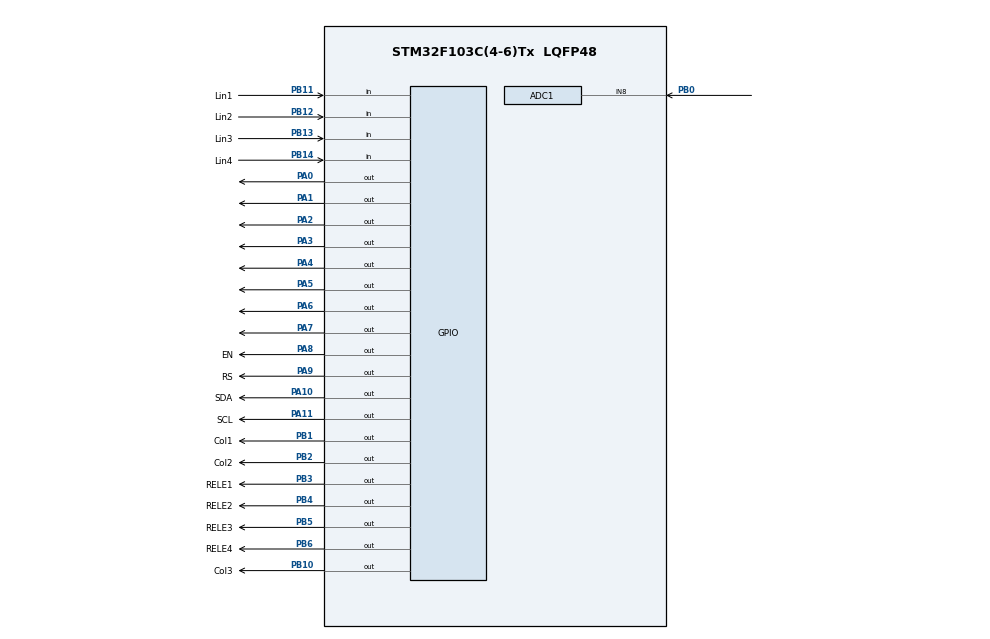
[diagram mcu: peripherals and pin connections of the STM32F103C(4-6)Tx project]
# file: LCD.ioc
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ADC1.Channel-0\#ChannelRegularConversion=ADC_CHANNEL_8
ADC1.NbrOfConversionFlag=1
ADC1.Rank-0\#ChannelRegularConversion=1
ADC1.SamplingTime-0\#ChannelRegularConversion=ADC_SAMPLETIME_1CYCLE_5
ADC1.master=1
Mcu.Family=STM32F1
Mcu.Name=STM32F103C(4-6)Tx
Mcu.Package=LQFP48
NVIC.PriorityGroup=NVIC_PRIORITYGROUP_4
PA0-WKUP.Signal=GPIO_Output
PA1.Signal=GPIO_Output
PA10.GPIO_Label=SDA
PA10.Signal=GPIO_Output
PA11.GPIO_Label=SCL
PA11.Signal=GPIO_Output
PA2.Signal=GPIO_Output
PA3.Signal=GPIO_Output
PA4.Signal=GPIO_Output
PA5.Signal=GPIO_Output
PA6.Signal=GPIO_Output
PA7.Signal=GPIO_Output
PA8.GPIO_Label=EN
PA8.Signal=GPIO_Output
PA9.GPIO_Label=RS
PA9.Signal=GPIO_Output
PB0.Signal=ADCx_IN8
PB1.GPIO_Label=Col1
PB1.Signal=GPIO_Output
PB10.GPIO_Label=Col3
PB10.Signal=GPIO_Output
PB11.GPIO_Label=Lin1
PB11.GPIO_PuPd=GPIO_PULLDOWN
PB11.Signal=GPIO_Input
PB12.GPIO_Label=Lin2
PB12.GPIO_PuPd=GPIO_PULLDOWN
PB12.Signal=GPIO_Input
PB13.GPIO_Label=Lin3
PB13.GPIO_PuPd=GPIO_PULLDOWN
PB13.Signal=GPIO_Input
PB14.GPIO_Label=Lin4
PB14.GPIO_PuPd=GPIO_PULLDOWN
PB14.Signal=GPIO_Input
PB2.GPIO_Label=Col2
PB2.Signal=GPIO_Output
PB3.GPIO_Label=RELE1
PB3.Signal=GPIO_Output
PB4.GPIO_Label=RELE2
PB4.Signal=GPIO_Output
PB5.GPIO_Label=RELE3
PB5.Signal=GPIO_Output
PB6.GPIO_Label=RELE4
PB6.Signal=GPIO_Output
ProjectManager.HeapSize=0x200
ProjectManager.StackSize=0x400
ProjectManager.TargetToolchain=MDK-ARM V5.27
RCC.APB1Freq_Value=8000000
RCC.APB2Freq_Value=8000000
RTC.Format=RTC_FORMAT_BIN
SH.ADCx_IN8.0=ADC1_IN8,IN8
VP_RTC_VS_RTC_Activate.Mode=RTC_Enabled
VP_RTC_VS_RTC_Calendar.Mode=RTC_Calendar
VP_SYS_VS_ND.Mode=No_Debug
board=custom

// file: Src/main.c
/* USER CODE BEGIN Header */
/**
  ******************************************************************************
  * @file           : main.c
  * @brief          : Main program body
  ******************************************************************************
  * @attention
  *
  * <h2><center>&copy; Copyright (c) 2020 STMicroelectronics.
  * All rights reserved.</center></h2>
  *
  * This software component is licensed by ST under BSD 3-Clause license,
  * the "License"; You may not use this file except in compliance with the
  * License. You may obtain a copy of the License at:
  *                        opensource.org/licenses/BSD-3-Clause
  *
  ******************************************************************************
  */
/* USER CODE END Header */

#include "main.h"
#include "adc.h"
#include "rtc.h"
#include "gpio.h"

/* USER CODE BEGIN Includes */
#include "string.h"
#include "stdio.h"

#define SDA (1<<10) //PA.10 - PLACA stm32f103
#define SCL (1<<11) //PA.11 - PLACA stm32f103
#define SDA0 GPIOA->BSRR = 1<<(10+16)    // bit set/reset register 32 bit- 16 primeiros set, 16 ultimos reset: [0000010000000000 0000000000000000]
#define SDA1 GPIOA->BSRR = SDA					 // bit set/reset register 32 bit- 16 primeiros set, 16 ultimos reset: [0000000000000000 0000010000000000]
#define SCL0 GPIOA->BSRR = 1<<(11+16)
#define SCL1 GPIOA->BSRR = SCL

/* USER CODE END Includes */

/* USER CODE BEGIN PTD */
RTC_TimeTypeDef sTime;		// estrutura que recebera a hora
RTC_DateTypeDef sDate;		// estrutura que recebera a data

/* USER CODE END PTD */

void SystemClock_Config(void);

/* USER CODE BEGIN 0 */

//--------------------------------------------------- I2C (diferente) START
void start_i2c(void){
SCL0;
SDA1;
HAL_Delay(1);//1 milisegundo
SCL1;				// 																				 |--- start---|
HAL_Delay(1);//1 milisegundo							SCL (SCK)  ____|--|_|--|_____
SDA0;				//														SDA (DATA) -----|_____|-----|___
HAL_Delay(1);//1 milisegundo
SCL0;
HAL_Delay(1);//1 milisegundo
SCL1;
HAL_Delay(1);//1 milisegundo
SDA1;
HAL_Delay(1);//1 milisegundo
SCL0;
HAL_Delay(1);//1 milisegundo
SDA0;

}

//--------------------------------------------------- MANDA COMANDO PARA O LCD
	void lcd_comando(uint8_t comando){
	HAL_GPIO_WritePin(GPIOA, RS_Pin,0);  //RS em zero para mandar comando
	GPIOA->BRR = 0xFF; //zera os bits de dados
	GPIOA->BSRR = comando; //seta os bits do comando

	HAL_GPIO_WritePin(GPIOA, EN_Pin,1);			//en 1
	HAL_Delay(1);
	HAL_GPIO_WritePin(GPIOA, EN_Pin,0);			//en 0
	HAL_Delay(1);
	}

//--------------------------------------------------- DESLOCA CURSOR LCD
	void lcd_GOTO(int linha, int coluna){
		if (coluna<16){
		if (linha==0)lcd_comando(0x80+coluna);
		if (linha==1)lcd_comando(0xc0+coluna);
		if (linha==2)lcd_comando(0x94+coluna);
		if (linha==3)lcd_comando(0xD4+coluna);
		}
	}

//--------------------------------------------------- MANDA DADOS PARA ESCREVER NO LCD
	void lcd_dado(char dado){
	HAL_GPIO_WritePin(GPIOA, RS_Pin,1);  //RS em zero para mandar dados
	GPIOA->BRR = 0xFF; //zera os bits de dados
	GPIOA->BSRR = dado; //seta os bits do dado

	HAL_GPIO_WritePin(GPIOA, EN_Pin,1);			//en 1
	HAL_Delay(1);
	HAL_GPIO_WritePin(GPIOA, EN_Pin,0);			//en 0
	HAL_Delay(1);
	}

//--------------------------------------------------- ESCREVE STRINGS NO LCD
	void lcd_STRING(char vetor[]){
		int tamanho, i=0;
		tamanho = strlen(vetor);
		for(i=0;i<=tamanho;i++){
			lcd_dado(vetor[i]);
		}
	}

//--------------------------------------------------- INICIALIZAÇAO DO LCD
	void lcd_init(void){
		lcd_comando(0x38);
		lcd_comando(0x0e);
		lcd_comando(0x06);
		lcd_comando(0x01);
	  HAL_Delay(100);
	}

//--------------------------------------------------- LÊ AS TECLAS DO TECLADO
	int le_teclado(void){
	HAL_Delay(50);
	int i=0;
	for (i=0; i<3;i++){
	if (i==0){
	// ------------ coluna 1 numeros 1, 6, 7 e *
	HAL_GPIO_WritePin(GPIOB,Col1_Pin,1);
	HAL_GPIO_WritePin(GPIOB,Col2_Pin,0);
	HAL_GPIO_WritePin(GPIOB,Col3_Pin,0);

	if(HAL_GPIO_ReadPin(GPIOB,Lin1_Pin)) return 1;
	else if(HAL_GPIO_ReadPin(GPIOB,Lin2_Pin)) return 6;
	else if(HAL_GPIO_ReadPin(GPIOB,Lin3_Pin)) return 7;
	else if(HAL_GPIO_ReadPin(GPIOB,Lin4_Pin)) return 77;
	//else return -1;
	}
	else if (i==1){
	// ------------ coluna 2 numeros 2, 5, 8 e 0
	HAL_Delay(50);
	HAL_GPIO_WritePin(GPIOB,Col1_Pin,0);
	HAL_GPIO_WritePin(GPIOB,Col2_Pin,1);
	HAL_GPIO_WritePin(GPIOB,Col3_Pin,0);

	if(HAL_GPIO_ReadPin(GPIOB,Lin1_Pin)) return 2;
	else if(HAL_GPIO_ReadPin(GPIOB,Lin2_Pin)) return 5;
	else if(HAL_GPIO_ReadPin(GPIOB,Lin3_Pin)) return 8;
	else if(HAL_GPIO_ReadPin(GPIOB,Lin4_Pin)) return 10;
	//else return -1;
	}
	else if (i==2){
	// ------------ coluna 1 numeros 3, 4, 9 e #
	HAL_Delay(50);
	HAL_GPIO_WritePin(GPIOB,Col1_Pin,0);
	HAL_GPIO_WritePin(GPIOB,Col2_Pin,0);
	HAL_GPIO_WritePin(GPIOB,Col3_Pin,1);

	if(HAL_GPIO_ReadPin(GPIOB,Lin1_Pin)) return 3;
	else if(HAL_GPIO_ReadPin(GPIOB,Lin2_Pin)) return 4;
	else if(HAL_GPIO_ReadPin(GPIOB,Lin3_Pin)) return 9;
	else if(HAL_GPIO_ReadPin(GPIOB,Lin4_Pin)) return 99;
	//else return -1;
	}
}i=0;
}

//--------------------------------------------------- APAGA TUDO NO DISLAY
	void lcd_clear(){
	int i=0, j=0;
		for (i=0; i<4;i++){
			for (j=0; j<16;j++){
				lcd_GOTO(i,j);
				lcd_dado(' ');
			}
		}
	}

//--------------------------------------------------- TESTA AS TECLAS DO TECLADO
	void testa_teclado (){
		int tecla =0;

		lcd_clear();
		lcd_GOTO(0,1);
		lcd_STRING("Teste teclado!");

		while (tecla != 99){
		tecla = le_teclado();
		if (tecla == 1){
		lcd_clear();
			lcd_GOTO(1,1);
			lcd_STRING("Tecla 1");
		}
		else if (tecla == 2){
		lcd_clear();
			lcd_GOTO(1,1);
			lcd_STRING("Tecla 2");
		}
		else if (tecla == 3){
		lcd_clear();
			lcd_GOTO(1,1);
			lcd_STRING("Tecla 3");
		}
		else if (tecla == 4){
			lcd_clear();
			lcd_GOTO(1,1);
			lcd_STRING("Tecla 4");
		}
		else if (tecla == 5){
		lcd_clear();
			lcd_GOTO(1,1);
			lcd_STRING("Tecla 5");
		}
		else if (tecla == 6){
		lcd_clear();
			lcd_GOTO(1,1);
			lcd_STRING("Tecla 6");
		}
		else if (tecla == 7){
			lcd_clear();
			lcd_GOTO(1,1);
			lcd_STRING("Tecla 7");
		}
		else if (tecla == 8){
		lcd_clear();
			lcd_GOTO(1,1);
			lcd_STRING("Tecla 8");
		}
		else if (tecla == 9){
		lcd_clear();
			lcd_GOTO(1,1);
			lcd_STRING("Tecla 9");
		}
		else if (tecla == 10){
			lcd_clear();
			lcd_GOTO(1,1);
			lcd_STRING("Tecla 0");
		}
		else if (tecla == 77){
		lcd_clear();
			lcd_GOTO(1,1);
			lcd_STRING("Tecla *");
		}
		else if (tecla == 99){
		lcd_clear();
			lcd_GOTO(1,1);
			lcd_STRING("Tecla #");
		}
	}
		lcd_clear();
	}

//--------------------------------------------------- ESCREVE A HORA NA TELA
	void escreve_hora (){
	char vetor_hora[30];
	HAL_RTC_GetTime(&hrtc, &sTime, RTC_FORMAT_BIN);
	HAL_RTC_GetDate(&hrtc, &sDate, RTC_FORMAT_BIN);
	sprintf(vetor_hora,"%02d:%02d:%02d",sTime.Hours,sTime.Minutes,sTime.Seconds);
	lcd_GOTO(1,4);
	lcd_STRING(vetor_hora);
	}

//--------------------------------------------------- SETA HORA
	void set_hora(){
	int tecla =0, i=0,var_OK=0, hora_vet[6] ={66, 66, 66, 66, 66, 66};
	float ponto =1;
	lcd_GOTO(0,1);
	lcd_STRING("Configura Hora");

	lcd_GOTO(1,4);
	lcd_STRING("00:00:00");
	lcd_GOTO(3,0);
	lcd_STRING("*: ESC     #: OK");

	for (i=5; i>-1;i--){
	while (hora_vet[i] == 66){
	tecla = le_teclado();
	lcd_GOTO(1,11-i- 2*ponto);
	switch (tecla){
		case 10:
	  lcd_STRING("0");
		hora_vet[i] = 0;
		break;
		case 1:
	  lcd_STRING("1");
		hora_vet[i]= 1;
		break;
		case 2:
	  lcd_STRING("2");
		hora_vet[i]= 2;
		break;
		case 3:
	  lcd_STRING("3");
		hora_vet[i]= 3;
		break;
		case 4:
	  lcd_STRING("4");
		hora_vet[i]= 4;
		break;
		case 5:
	  lcd_STRING("5");
		hora_vet[i] = 5;
		break;
		case 6:
	  lcd_STRING("6");
		hora_vet[i]= 6;
		break;
		case 7:
	  lcd_STRING("7");
		hora_vet[i]= 7;
		break;
		case 8:
	  lcd_STRING("8");
		hora_vet[i]= 8;
		break;
		case 9:
	  lcd_STRING("9");
		hora_vet[i]= 9;
		break;
	}
}

	ponto = ponto-0.25;
}

		while (var_OK != 66){
		tecla = le_teclado();
		if (tecla == 77){
			lcd_GOTO(3,0);
			lcd_STRING("   CANCELADA!   ");
			var_OK = 66;
		}
			else if (tecla == 99){
			if(hora_vet[5]*10 + hora_vet[4] >23) 	sTime.Hours = 23;
			else 	sTime.Hours = hora_vet[5]*10 + hora_vet[4];

			if(hora_vet[3]*10 + hora_vet[2] >60) 	sTime.Minutes = 00;
			else 	sTime.Minutes = hora_vet[3]*10 + hora_vet[2];

			if(hora_vet[1]*10 + hora_vet[0] >60) 	sTime.Seconds = 0;
			else 	sTime.Seconds = hora_vet[1]*10 + hora_vet[0];

			HAL_RTC_SetTime(&hrtc, &sTime, RTC_FORMAT_BIN);
			lcd_GOTO(3,0);
			lcd_STRING("  CONFIG SALVA! ");
			var_OK = 66;
			}
	}

	lcd_clear();

}

//--------------------------------------------------- Envia 1 pelo I2C
void envia_1_i2c(void){
SDA1;
HAL_Delay(1);//1 milisegundo
SCL1;
HAL_Delay(1);//1 milisegundo
SCL0;
HAL_Delay(1);//1 milisegundo
}

//--------------------------------------------------- Envia 1 pelo I2C
void envia_0_i2c(void){
SDA0;
HAL_Delay(1);//1 milisegundo
SCL1;
HAL_Delay(1);//1 milisegundo
SCL0;
HAL_Delay(1);//1 milisegundo
}

//--------------------------------------------------- ACK i2c
int ack_i2c(void){
int x;																// muda a config do pino de saida para entrada para poder ler o ack depois muda para sada de novo
GPIO_InitTypeDef GPIO_InitStruct;
GPIO_InitStruct.Pin = GPIO_PIN_10; // SDA => PA.10
GPIO_InitStruct.Mode = GPIO_MODE_INPUT; //FAZ SDA COMO ENTRADA
GPIO_InitStruct.Pull = GPIO_PULLUP;
GPIO_InitStruct.Speed = GPIO_SPEED_FREQ_LOW;
HAL_GPIO_Init(GPIOA, &GPIO_InitStruct);
SCL1;
HAL_Delay(1);//1 milisegundo
x = HAL_GPIO_ReadPin(GPIOA,SDA); //L^E O PINO
SCL0;
HAL_Delay(1);//1 milisegundo
GPIO_InitStruct.Pin = GPIO_PIN_10; // SDA => PA.10
GPIO_InitStruct.Mode = GPIO_MODE_OUTPUT_PP; //FAZ SDA COMO SA´IDA
GPIO_InitStruct.Pull = GPIO_PULLUP;
GPIO_InitStruct.Speed = GPIO_SPEED_FREQ_LOW;
HAL_GPIO_Init(GPIOA, &GPIO_InitStruct);
return x; //se 0 ok, se 1 erro
}

//--------------------------------------------------- LE UM BYTE
int8_t le_byte(void){
	uint8_t x=0;																// muda a config do pino de saida para entrada para poder ler o ack depois muda para sada de novo
	GPIO_InitTypeDef GPIO_InitStruct;
	GPIO_InitStruct.Pin = GPIO_PIN_10; // SDA => PA.10
	GPIO_InitStruct.Mode = GPIO_MODE_INPUT; //FAZ SDA COMO ENTRADA
	GPIO_InitStruct.Pull = GPIO_PULLUP;
	GPIO_InitStruct.Speed = GPIO_SPEED_FREQ_LOW;
	HAL_GPIO_Init(GPIOA, &GPIO_InitStruct);

	for (int i=0; i<8; i++){
	SCL1;
	HAL_Delay(1);//1 milisegundo
	x = x<<1;
	x |= HAL_GPIO_ReadPin(GPIOA,SDA); //L^E O PINO
	SCL0;
	HAL_Delay(1);//1 milisegundo
	}

	GPIO_InitStruct.Pin = GPIO_PIN_10; // SDA => PA.10
	GPIO_InitStruct.Mode = GPIO_MODE_OUTPUT_PP; //FAZ SDA COMO SA´IDA
	GPIO_InitStruct.Pull = GPIO_PULLUP;
	GPIO_InitStruct.Speed = GPIO_SPEED_FREQ_LOW;
	HAL_GPIO_Init(GPIOA, &GPIO_InitStruct);
	return x;

}

//--------------------------------------------------- LEITURA DE UMIDADE
int le_umi(void){
	int erro;
	float umi;
	uint8_t byte1, byte2, byte3;
	uint16_t umidade;
	start_i2c();
	envia_0_i2c();
	envia_0_i2c();
	envia_0_i2c();
	envia_0_i2c();
	envia_0_i2c();
	envia_1_i2c();
	envia_0_i2c();
	envia_1_i2c();
	erro = ack_i2c();
	HAL_Delay(100);
	byte1 = le_byte();
	envia_0_i2c ();      //ack do mestre ara o escravo
	byte2 = le_byte();
	envia_0_i2c ();      //ack do mestre ara o escravo
	byte3 = le_byte();
	envia_1_i2c ();      //ack do mestre ara o escravo

	umidade = ((byte1 & 0x0f) << 8) | byte2;

	umi = (-2.0468) + (0.0367)*(umidade) + (-0.0000015855)*(umidade*umidade);

	return (int)umi;
}
//--------------------------------------------------- LEITURA DE TEMPERATURA
int le_temp(void){
	int erro;
	float temp;
	uint8_t byte1, byte2, byte3;
	uint16_t temperatura;
	start_i2c();
	envia_0_i2c();
	envia_0_i2c();
	envia_0_i2c();
	envia_0_i2c();
	envia_0_i2c();
	envia_0_i2c();
	envia_1_i2c();
	envia_1_i2c();
	erro = ack_i2c();
	HAL_Delay(360);
	byte1 = le_byte();
	envia_0_i2c ();      //ack do mestre ara o escravo
	byte2 = le_byte();
	envia_0_i2c ();      //ack do mestre ara o escravo
	byte3 = le_byte();
	envia_1_i2c ();      //ack do mestre ara o escravo

	temperatura = ((byte1 & 0x3f) << 8) | byte2;

	temp = (-39.6)+(0.01*temperatura);

	return (int)temp;
}

//--------------------------------------------------- LEITURA DE LUMINOSIDADE
uint16_t le_lumi(void){
	uint16_t leitura_AD;
	HAL_ADC_Start(&hadc1);
	HAL_ADC_PollForConversion(&hadc1,100);
	leitura_AD = HAL_ADC_GetValue(&hadc1); //LEITURA DO CANAL 5
	HAL_ADC_Stop(&hadc1);
	return leitura_AD;
}

//--------------------------------------------------- ESCREVE UMIDADE NA TELA
void escreve_umi(void){
	char vetor_umidade[30];
	int umidade =0;
	umidade = le_umi();
	sprintf(vetor_umidade,"U: %2d %%",umidade);
	lcd_GOTO(0,1);
	lcd_STRING(vetor_umidade);
}

//--------------------------------------------------- ESCREVE TEMPERATURA NA TELA
void escreve_tmp(void){
	char vetor_temperatura[30];
	int temperatura =0;
	temperatura = le_temp();
	sprintf(vetor_temperatura,"T: %2doC",temperatura);
	lcd_GOTO(0,9);
	lcd_STRING(vetor_temperatura);
}

//--------------------------------------------------- ESCREVE LUMINOSIDADE NA TELA
void escreve_lumi(void){
	uint16_t leitura_luminosidade;
	leitura_luminosidade = le_lumi();
	char vetor_luminosidade[30];
	sprintf(vetor_luminosidade,"L: %04d lx",leitura_luminosidade);
	lcd_GOTO(2,3);
	lcd_STRING(vetor_luminosidade);
}

//--------------------------------------------------- CONFIGURA RELE1 CONFIG HORA
int set_parametros (int le_escreve, int par, long int valor){
	static long int parametros [6] = {80005,   // liga rele1
																		80010,		// desliga rele1
																		80010,		// liga rele2
																		80015,		// desliga rele2
																		25,				// sp temperatura rele3
																		1000};		// sp luminosidade rele4
	if (le_escreve == 1){   // 1 - leitura   2- escrita
		return parametros [par];
	}
		else if (le_escreve == 2){
		parametros[par] = valor;
		}
}

//--------------------------------------------------- ESCREVE PARAMETROS NA TELA
void menu_parametros (void){
	long int  liga_RL1 =0,var_OK=0,tecla=0, desliga_RL1 =0, liga_RL2 =0, desliga_RL2=0;
	int  temp_liga=0;
	uint16_t lumi_liga=0;
	char SP_par[16];

	liga_RL1 = set_parametros(1,0,0);
	desliga_RL1 = set_parametros(1,1,0);
	liga_RL2 = set_parametros(1,2,0);
	desliga_RL2 = set_parametros(1,3,0);
	temp_liga = set_parametros(1,4,0);
	lumi_liga = set_parametros(1,5,0);

	lcd_GOTO(0,0);
	lcd_STRING("RL1          RL2");
	sprintf(SP_par,"L:%ld  %ld",liga_RL1,liga_RL2);
	lcd_GOTO(1,0);
	lcd_STRING(SP_par);

	sprintf(SP_par,"D:%ld  %ld",desliga_RL1,desliga_RL2);
	lcd_GOTO(2,0);
	lcd_STRING(SP_par);

	sprintf(SP_par,"RL3:%d  RL4:%d",temp_liga,lumi_liga);
	lcd_GOTO(3,0);
	lcd_STRING(SP_par);

	while (var_OK != 66){
		tecla = le_teclado();
		if (tecla == 77){
			var_OK = 66;
		}
			else if (tecla == 99){
			var_OK = 66;
			}
	}

	lcd_clear();

}

//--------------------------------------------------- CONFIGURA RELE1 CONFIG HORA
void config_RL1 (){
	int tecla =0, i=0,j=0,var_OK=0, hora_vet[6] ={66, 66, 66, 66, 66, 66}, aux_hr_liga[3]={0,0,0}, aux_hr_desl[3]={0,0,0};
	long int set_liga=0, set_desliga=0;
	float ponto =1;
	char vetor_hora_liga[30],vetor_hora_desliga[30];
	set_liga = set_parametros(1,0,0);
	set_desliga = set_parametros(1,1,0);
	for(j=0; j<3;j++){
	aux_hr_liga[j] = set_liga%100;
	set_liga /= 100;
	}
	for(j=0; j<3;j++){
	aux_hr_desl[j] = set_desliga%100;
	set_desliga /= 100;
	}

	lcd_GOTO(0,2);
	lcd_STRING("Config Rele 1");
	lcd_GOTO(1,0);
	sprintf(vetor_hora_liga,"Liga: %02d:%02d:%02d",aux_hr_liga[2],aux_hr_liga[1],aux_hr_liga[0]);
	lcd_STRING(vetor_hora_liga);
	lcd_GOTO(2,0);
	sprintf(vetor_hora_desliga,"Desl: %02d:%02d:%02d",aux_hr_desl[2],aux_hr_desl[1],aux_hr_desl[0]);
	lcd_STRING(vetor_hora_desliga);
	lcd_GOTO(3,0);
	lcd_STRING("*: ESC     #: OK");

	for(j=1; j<3;j++){
		for (i=5; i>-1;i--){
			while (hora_vet[i] == 66){
			tecla = le_teclado();
			lcd_GOTO(j,13-i- 2*ponto);
				switch (tecla){
					case 10:
					lcd_STRING("0");
					hora_vet[i] = 0;
					break;
					case 1:
					lcd_STRING("1");
					hora_vet[i]= 1;
					break;
					case 2:
					lcd_STRING("2");
					hora_vet[i]= 2;
					break;
					case 3:
					lcd_STRING("3");
					hora_vet[i]= 3;
					break;
					case 4:
					lcd_STRING("4");
					hora_vet[i]= 4;
					break;
					case 5:
					lcd_STRING("5");
					hora_vet[i] = 5;
					break;
					case 6:
					lcd_STRING("6");
					hora_vet[i]= 6;
					break;
					case 7:
					lcd_STRING("7");
					hora_vet[i]= 7;
					break;
					case 8:
					lcd_STRING("8");
					hora_vet[i]= 8;
					break;
					case 9:
					lcd_STRING("9");
					hora_vet[i]= 9;
					break;
				}
			}

		ponto = ponto-0.25;
		}
		if (j==1){
			if(hora_vet[5]*10 + hora_vet[4] >23) 	set_liga = 230000;
			else 	set_liga = hora_vet[5]*100000 + hora_vet[4]*10000;

			if(hora_vet[3]*10 + hora_vet[2] >60) 	set_liga = set_liga + 5900;
			else 	set_liga = set_liga + hora_vet[3]*1000 + hora_vet[2]*100;

			if(hora_vet[1]*10 + hora_vet[0] >60) 	set_liga = set_liga + 59;
			else 	set_liga = set_liga +  hora_vet[1]*10 + hora_vet[0];

			hora_vet [0]= 66;
			hora_vet [1]= 66;
			hora_vet [2]= 66;
			hora_vet [3]= 66;
			hora_vet [4]= 66;
			hora_vet [5]= 66;
			ponto = 1;
		}
		else if (j==2){
			if(hora_vet[5]*10 + hora_vet[4] >23) 	set_desliga = 230000;
			else 	set_desliga = hora_vet[5]*100000 + hora_vet[4]*10000;

			if(hora_vet[3]*10 + hora_vet[2] >60) 	set_desliga = set_desliga + 5900;
			else 	set_desliga = set_desliga + hora_vet[3]*1000 + hora_vet[2]*100;

			if(hora_vet[1]*10 + hora_vet[0] >60) 	set_desliga = set_desliga + 59;
			else 	set_desliga = set_desliga +  hora_vet[1]*10 + hora_vet[0];
		}
	}

			while (var_OK != 66){
		tecla = le_teclado();
		if (tecla == 77){
			lcd_GOTO(3,0);
			lcd_STRING("   CANCELADA!   ");
			var_OK = 66;
		}
			else if (tecla == 99){
			set_parametros(2,0,set_liga);
			set_parametros(2,1,set_desliga);
			lcd_GOTO(3,0);
			lcd_STRING("  CONFIG SALVA! ");
			var_OK = 66;
			}
	}

	lcd_clear();

}

//--------------------------------------------------- CONFIGURA RELE2 CONFIG HORA
void config_RL2 (){
	int tecla =0, i=0,j=0,var_OK=0, hora_vet[6] ={66, 66, 66, 66, 66, 66}, aux_hr_liga[3]={0,0,0}, aux_hr_desl[3]={0,0,0};
	long int set_liga=0, set_desliga=0;
	float ponto =1;
	char vetor_hora_liga[30],vetor_hora_desliga[30];
	set_liga = set_parametros(1,2,0);
	set_desliga = set_parametros(1,3,0);
	for(j=0; j<3;j++){
	aux_hr_liga[j] = set_liga%100;
	set_liga /= 100;
	}
	for(j=0; j<3;j++){
	aux_hr_desl[j] = set_desliga%100;
	set_desliga /= 100;
	}

	lcd_GOTO(0,2);
	lcd_STRING("Config Rele 2");
	lcd_GOTO(1,0);
	sprintf(vetor_hora_liga,"Liga: %02d:%02d:%02d",aux_hr_liga[2],aux_hr_liga[1],aux_hr_liga[0]);
	lcd_STRING(vetor_hora_liga);
	lcd_GOTO(2,0);
	sprintf(vetor_hora_desliga,"Desl: %02d:%02d:%02d",aux_hr_desl[2],aux_hr_desl[1],aux_hr_desl[0]);
	lcd_STRING(vetor_hora_desliga);
	lcd_GOTO(3,0);
	lcd_STRING("*: ESC     #: OK");

	for(j=1; j<3;j++){
		for (i=5; i>-1;i--){
			while (hora_vet[i] == 66){
			tecla = le_teclado();
			lcd_GOTO(j,13-i- 2*ponto);
				switch (tecla){
					case 10:
					lcd_STRING("0");
					hora_vet[i] = 0;
					break;
					case 1:
					lcd_STRING("1");
					hora_vet[i]= 1;
					break;
					case 2:
					lcd_STRING("2");
					hora_vet[i]= 2;
					break;
					case 3:
					lcd_STRING("3");
					hora_vet[i]= 3;
					break;
					case 4:
					lcd_STRING("4");
					hora_vet[i]= 4;
					break;
					case 5:
					lcd_STRING("5");
					hora_vet[i] = 5;
					break;
					case 6:
					lcd_STRING("6");
					hora_vet[i]= 6;
					break;
					case 7:
					lcd_STRING("7");
					hora_vet[i]= 7;
					break;
					case 8:
					lcd_STRING("8");
					hora_vet[i]= 8;
					break;
					case 9:
					lcd_STRING("9");
					hora_vet[i]= 9;
					break;
				}
			}

		ponto = ponto-0.25;
		}
		if (j==1){
			if(hora_vet[5]*10 + hora_vet[4] >23) 	set_liga = 230000;
			else 	set_liga = hora_vet[5]*100000 + hora_vet[4]*10000;

			if(hora_vet[3]*10 + hora_vet[2] >60) 	set_liga = set_liga + 5900;
			else 	set_liga = set_liga + hora_vet[3]*1000 + hora_vet[2]*100;

			if(hora_vet[1]*10 + hora_vet[0] >60) 	set_liga = set_liga + 59;
			else 	set_liga = set_liga +  hora_vet[1]*10 + hora_vet[0];

			hora_vet [0]= 66;
			hora_vet [1]= 66;
			hora_vet [2]= 66;
			hora_vet [3]= 66;
			hora_vet [4]= 66;
			hora_vet [5]= 66;
			ponto = 1;
		}
		else if (j==2){
			if(hora_vet[5]*10 + hora_vet[4] >23) 	set_desliga = 230000;
			else 	set_desliga = hora_vet[5]*100000 + hora_vet[4]*10000;

			if(hora_vet[3]*10 + hora_vet[2] >60) 	set_desliga = set_desliga + 5900;
			else 	set_desliga = set_desliga + hora_vet[3]*1000 + hora_vet[2]*100;

			if(hora_vet[1]*10 + hora_vet[0] >60) 	set_desliga = set_desliga + 59;
			else 	set_desliga = set_desliga +  hora_vet[1]*10 + hora_vet[0];
		}
	}

		while (var_OK != 66){
		tecla = le_teclado();
		if (tecla == 77){
			lcd_GOTO(2,2);
			lcd_STRING("CANCELADA!");
			var_OK = 66;
		}
			else if (tecla == 99){
			set_parametros(2,2,set_liga);
			set_parametros(2,3,set_desliga);
			lcd_GOTO(3,0);
			lcd_STRING("  CONFIG SALVA! ");
			var_OK = 66;
			}
	}

	lcd_clear();

}

//--------------------------------------------------- CONFIGURA RELE3 ACIONA COM TEMP
void config_RL3 (){
	int tecla =0, i=0, sp_temp =0, var_OK=0, temp_vet[2] ={66, 66};
	char vetor_temp[10];
	lcd_GOTO(0,2);
	lcd_STRING("Config Rele 3");
	sp_temp = set_parametros(1,4,0);
	sprintf(vetor_temp,"SP de temp: %doC",sp_temp);
	lcd_GOTO(1,0);
	lcd_STRING(vetor_temp);
	lcd_GOTO(3,0);
	lcd_STRING("*: ESC     #: OK");

	for (i=1; i>-1;i--){
		while (temp_vet[i] == 66){
		tecla = le_teclado();
		lcd_GOTO(1,13-i);

		switch (tecla){
			case 10:
			lcd_STRING("0");
			temp_vet[i] = 0;
			break;
			case 1:
			lcd_STRING("1");
			temp_vet[i]= 1;
			break;
			case 2:
			lcd_STRING("2");
			temp_vet[i]= 2;
			break;
			case 3:
			lcd_STRING("3");
			temp_vet[i]= 3;
			break;
			case 4:
			lcd_STRING("4");
			temp_vet[i]= 4;
			break;
			case 5:
			lcd_STRING("5");
			temp_vet[i] = 5;
			break;
			case 6:
			lcd_STRING("6");
			temp_vet[i]= 6;
			break;
			case 7:
			lcd_STRING("7");
			temp_vet[i]= 7;
			break;
			case 8:
			lcd_STRING("8");
			temp_vet[i]= 8;
			break;
			case 9:
			lcd_STRING("9");
			temp_vet[i]= 9;
			break;
			}
		}

	}

	while (var_OK != 66){
		tecla = le_teclado();
		if (tecla == 77){
			lcd_GOTO(2,2);
			lcd_STRING("CANCELADA!");
			var_OK = 66;
		}
			else if (tecla == 99){
			sp_temp =temp_vet[1]*10 + temp_vet[0];
			set_parametros(2,4,sp_temp);
			lcd_GOTO(2,1);
			lcd_STRING("CONFIG SALVA!");
			var_OK = 66;
			}
	}

	lcd_clear();

}

//--------------------------------------------------- CONFIGURA RELE4 ACIONA COM LUMI
void config_RL4 (){
	int tecla =0, i=0, sp_lumi =0, var_OK=0, lumi_vet[4] ={66, 66, 66, 66};
	char vetor_lumi[10];
	lcd_GOTO(0,2);
	lcd_STRING("Config Rele 4");
	sp_lumi = set_parametros(1,5,0);
	sprintf(vetor_lumi,"SP de lumi: %d",sp_lumi);
	lcd_GOTO(1,0);
	lcd_STRING(vetor_lumi);
	lcd_GOTO(3,0);
	lcd_STRING("*: ESC     #: OK");

	for (i=3; i>-1;i--){
		while (lumi_vet[i] == 66){
		tecla = le_teclado();
		lcd_GOTO(1,15-i);

		switch (tecla){
			case 10:
			lcd_STRING("0");
			lumi_vet[i] = 0;
			break;
			case 1:
			lcd_STRING("1");
			lumi_vet[i]= 1;
			break;
			case 2:
			lcd_STRING("2");
			lumi_vet[i]= 2;
			break;
			case 3:
			lcd_STRING("3");
			lumi_vet[i]= 3;
			break;
			case 4:
			lcd_STRING("4");
			lumi_vet[i]= 4;
			break;
			case 5:
			lcd_STRING("5");
			lumi_vet[i] = 5;
			break;
			case 6:
			lcd_STRING("6");
			lumi_vet[i]= 6;
			break;
			case 7:
			lcd_STRING("7");
			lumi_vet[i]= 7;
			break;
			case 8:
			lcd_STRING("8");
			lumi_vet[i]= 8;
			break;
			case 9:
			lcd_STRING("9");
			lumi_vet[i]= 9;
			break;
			}
		}

	}

		while (var_OK != 66){
		tecla = le_teclado();
		if (tecla == 77){
			lcd_GOTO(2,2);
			lcd_STRING("CANCELADA!");
			var_OK = 66;
		}
			else if (tecla == 99){
			sp_lumi =lumi_vet[3]*1000 +lumi_vet[2]*100 + lumi_vet[1]*10 + lumi_vet[0];
			set_parametros(2,5,sp_lumi);
//			sprintf(vetor_lumi,"SP de lumi: %d",sp_lumi);
			lcd_GOTO(2,1);
			lcd_STRING("CONFIG SALVA!");
			var_OK = 66;
			}
	}

	lcd_clear();
}

//--------------------------------------------------- MENU RELES
void menu_rele(void){
int tecla =0, var_escolha = 0, var_OK = 0, var_sair = 0;
	char vetor_escolha[2];
	lcd_GOTO(0,2);
	lcd_STRING("MENU RELES");
	lcd_GOTO(1,0);
	lcd_STRING("1- RL1   2- RL2");
	lcd_GOTO(2,0);
	lcd_STRING("3- RL3   4- RL4");
	lcd_GOTO(3,4);
	lcd_STRING("*:ESC  #:OK");

	while (var_OK != 66){
	tecla = le_teclado();
		if (tecla == 77){
			var_OK = 66;
		}
			else if (tecla != 99){
				if (tecla != 0)	var_escolha = tecla;
				sprintf(vetor_escolha,"%d",var_escolha);
				lcd_GOTO(3,0);
				lcd_STRING(vetor_escolha);
			}
				else	var_OK = 66;
	}

	lcd_clear();
	if (var_escolha == 1) config_RL1();
	else if (var_escolha == 2) config_RL2();
	else if (var_escolha == 3) config_RL3();
	else if (var_escolha == 4) config_RL4();

}

//--------------------------------------------------- MENU ESCOLHAS
void menu_1(void){
	int tecla =0, var_escolha = 0, var_OK = 0, var_sair = 0;
	char vetor_escolha[2];
	lcd_GOTO(0,5);
	lcd_STRING("MENU");
	lcd_GOTO(1,0);
	lcd_STRING("1 - Ajusta Hora");
	lcd_GOTO(2,0);
	lcd_STRING("2 - Config Reles");
	lcd_GOTO(3,4);
	lcd_STRING("*:ESC  #:OK");

	while (var_OK != 66){
	tecla = le_teclado();
		if (tecla == 77){
			var_OK = 66;
		}
			else if (tecla != 99){
				if (tecla != 0)	var_escolha = tecla;
				sprintf(vetor_escolha,"%d",var_escolha);
				lcd_GOTO(3,0);
				lcd_STRING(vetor_escolha);
			}
				else	var_OK = 66;
	}

	lcd_clear();
	if (var_escolha == 1) set_hora();
	else if (var_escolha == 2) menu_rele();
	else if (var_escolha == 9) menu_parametros();

}

//--------------------------------------------------- MENU PRINCIPAL
void menu_principal(void){
	int tecla =0;
	lcd_GOTO(3,1);
	lcd_STRING("#: Menu");
	tecla = le_teclado();
	if (tecla == 99){
	lcd_clear();
	menu_1();
	}
}

//--------------------------------------------------- ACIONAMENTOS
void acionamentos(void){
	long int hora_atual=0, liga_RL1 =0, desliga_RL1 =0, liga_RL2 =0, desliga_RL2=0;
	int temp_atual =0, temp_liga=0;
	uint16_t lumi_atual=0, lumi_liga=0;
//	char horas [30];

	HAL_RTC_GetTime(&hrtc, &sTime, RTC_FORMAT_BIN);
	HAL_RTC_GetDate(&hrtc, &sDate, RTC_FORMAT_BIN);

	hora_atual = sTime.Hours*10000 + sTime.Minutes*100 + sTime.Seconds;
//  sprintf(horas,"%ld",hora_atual);
//	lcd_GOTO(0,2);
//	lcd_STRING(horas);
	temp_atual = le_temp();
	lumi_atual = le_lumi();

	liga_RL1 = set_parametros(1,0,0);
	desliga_RL1 = set_parametros(1,1,0);
	liga_RL2 = set_parametros(1,2,0);
	desliga_RL2 = set_parametros(1,3,0);
	temp_liga = set_parametros(1,4,0);
	lumi_liga = set_parametros(1,5,0);

	if ((liga_RL1 > hora_atual) && (liga_RL1 < hora_atual+3)){
		HAL_GPIO_WritePin(GPIOB, RELE1_Pin,1);
		HAL_Delay(1);
	}
	if ((liga_RL2 > hora_atual) && (liga_RL2 < hora_atual+3)){
		HAL_GPIO_WritePin(GPIOB, RELE2_Pin,1);
		HAL_Delay(1);
	}
	if ((desliga_RL1 > hora_atual) && (desliga_RL1 < hora_atual+3)){
		HAL_GPIO_WritePin(GPIOB, RELE1_Pin,0);
		HAL_Delay(1);
	}
	if ((desliga_RL2 > hora_atual) && (desliga_RL2 < hora_atual+3)){
		HAL_GPIO_WritePin(GPIOB, RELE2_Pin,0);
		HAL_Delay(1);
	}

	if(temp_atual > temp_liga){
		HAL_GPIO_WritePin(GPIOB, RELE3_Pin,1);
		HAL_Delay(1);
	}
	else {
		HAL_GPIO_WritePin(GPIOB, RELE3_Pin,0);
		HAL_Delay(1);
	}

	if(lumi_atual > lumi_liga){
		HAL_GPIO_WritePin(GPIOB, RELE4_Pin,1);
		HAL_Delay(1);
	}
	else {
		HAL_GPIO_WritePin(GPIOB, RELE4_Pin,0);
		HAL_Delay(1);
	}

}

/* USER CODE END 0 */

int main(void)
{
  /* USER CODE BEGIN 1 */

	char vetor[30], vetor_hora[30],vetor_data[30];
	int tecla =0, i=1;
  /* USER CODE END 1 */

  /* MCU Configuration--------------------------------------------------------*/

  /* Reset of all peripherals, Initializes the Flash interface and the Systick. */
  HAL_Init();

  /* Configure the system clock */
  SystemClock_Config();

  /* Initialize all configured peripherals */
  MX_GPIO_Init();
  MX_RTC_Init();
  MX_ADC1_Init();
  /* USER CODE BEGIN 2 */

		lcd_init();
//  set_hora();

	sTime.Hours = 0;
	sTime.Minutes = 0;
	sTime.Seconds = 0;
	HAL_RTC_SetTime(&hrtc, &sTime, RTC_FORMAT_BIN);
	sDate.Date = 29;
	sDate.Month = 8;
	sDate.WeekDay = 6;
	sDate.Year = 20;
	HAL_RTC_SetDate(&hrtc, &sDate, RTC_FORMAT_BIN);

  /* USER CODE END 2 */

  /* Infinite loop */
  while (1)
  {

    /* USER CODE BEGIN 3 */

	//	testa_teclado();
		escreve_umi();
		escreve_tmp();
		escreve_hora();
		escreve_lumi();
		menu_principal();
		acionamentos();

  }
  /* USER CODE END 3 */
}

void SystemClock_Config(void)
{
  RCC_OscInitTypeDef RCC_OscInitStruct = {0};
  RCC_ClkInitTypeDef RCC_ClkInitStruct = {0};
  RCC_PeriphCLKInitTypeDef PeriphClkInit = {0};

  /** Initializes the CPU, AHB and APB busses clocks
  */
  RCC_OscInitStruct.OscillatorType = RCC_OSCILLATORTYPE_HSI|RCC_OSCILLATORTYPE_LSI;
  RCC_OscInitStruct.HSIState = RCC_HSI_ON;
  RCC_OscInitStruct.HSICalibrationValue = RCC_HSICALIBRATION_DEFAULT;
  RCC_OscInitStruct.LSIState = RCC_LSI_ON;
  RCC_OscInitStruct.PLL.PLLState = RCC_PLL_NONE;
  if (HAL_RCC_OscConfig(&RCC_OscInitStruct) != HAL_OK)
  {
    Error_Handler();
  }
  /** Initializes the CPU, AHB and APB busses clocks
  */
  RCC_ClkInitStruct.ClockType = RCC_CLOCKTYPE_HCLK|RCC_CLOCKTYPE_SYSCLK
                              |RCC_CLOCKTYPE_PCLK1|RCC_CLOCKTYPE_PCLK2;
  RCC_ClkInitStruct.SYSCLKSource = RCC_SYSCLKSOURCE_HSI;
  RCC_ClkInitStruct.AHBCLKDivider = RCC_SYSCLK_DIV1;
  RCC_ClkInitStruct.APB1CLKDivider = RCC_HCLK_DIV1;
  RCC_ClkInitStruct.APB2CLKDivider = RCC_HCLK_DIV1;

  if (HAL_RCC_ClockConfig(&RCC_ClkInitStruct, FLASH_LATENCY_0) != HAL_OK)
  {
    Error_Handler();
  }
  PeriphClkInit.PeriphClockSelection = RCC_PERIPHCLK_RTC|RCC_PERIPHCLK_ADC;
  PeriphClkInit.RTCClockSelection = RCC_RTCCLKSOURCE_LSI;
  PeriphClkInit.AdcClockSelection = RCC_ADCPCLK2_DIV2;
  if (HAL_RCCEx_PeriphCLKConfig(&PeriphClkInit) != HAL_OK)
  {
    Error_Handler();
  }
}

void Error_Handler(void)
{
}

/************************ (C) COPYRIGHT STMicroelectronics *****END OF FILE****/
